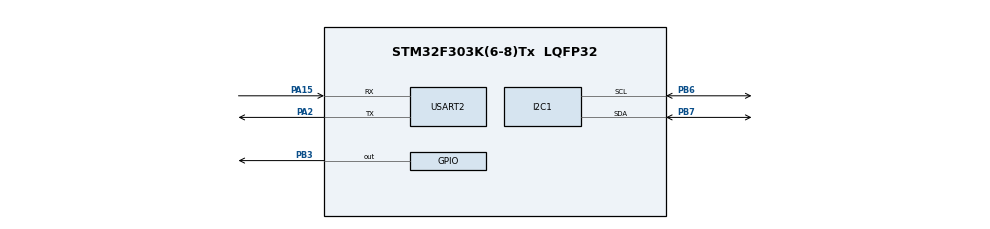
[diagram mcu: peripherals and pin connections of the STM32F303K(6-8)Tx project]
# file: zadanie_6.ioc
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I2C1.Timing=0x00201D2B
Mcu.Family=STM32F3
Mcu.Name=STM32F303K(6-8)Tx
Mcu.Package=LQFP32
NVIC.I2C1_EV_IRQn=true\:0\:0\:false\:false\:true\:true\:true\:true
NVIC.PriorityGroup=NVIC_PRIORITYGROUP_4
PA13.GPIO_Label=SWDIO
PA13.Mode=Serial_Wire
PA13.Signal=SYS_JTMS-SWDIO
PA14.GPIO_Label=SWCLK
PA14.Mode=Serial_Wire
PA14.Signal=SYS_JTCK-SWCLK
PA15.Mode=Asynchronous
PA15.Signal=USART2_RX
PA2.Mode=Asynchronous
PA2.Signal=USART2_TX
PB3.Signal=GPIO_Output
PB6.Mode=I2C
PB6.Signal=I2C1_SCL
PB7.Mode=I2C
PB7.Signal=I2C1_SDA
PF0\ /\ OSC_IN.GPIO_Label=MCO
PF0\ /\ OSC_IN.Mode=HSE-External-Clock-Source
PF0\ /\ OSC_IN.Signal=RCC_OSC_IN
ProjectManager.HeapSize=0x200
ProjectManager.StackSize=0x400
ProjectManager.TargetToolchain=STM32CubeIDE
RCC.AHBFreq_Value=8000000
RCC.APB1Freq_Value=8000000
RCC.APB2Freq_Value=8000000
RCC.CortexFreq_Value=8000000
RCC.HSE_VALUE=8000000
RCC.HSI_VALUE=8000000
RCC.SYSCLKFreq_VALUE=8000000
USART2.VirtualMode-Asynchronous=VM_ASYNC
board=NUCLEO-F303K8

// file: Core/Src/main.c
/* USER CODE BEGIN Header */
/**
  ******************************************************************************
  * @file           : main.c
  * @brief          : Main program body
  ******************************************************************************
  * @attention
  *
  * Copyright (c) 2026 STMicroelectronics.
  * All rights reserved.
  *
  * This software is licensed under terms that can be found in the LICENSE file
  * in the root directory of this software component.
  * If no LICENSE file comes with this software, it is provided AS-IS.
  *
  ******************************************************************************
  */
/* USER CODE END Header */
#include "main.h"
#include "i2c.h"
#include "usart.h"
#include "gpio.h"

/* USER CODE BEGIN Includes */
#include <stdio.h>
#include "bmp180.h"
#include "aht10.h"

/* USER CODE END Includes */

void SystemClock_Config(void);

int main(void)
{

  /* USER CODE BEGIN 1 */
  char msg[64];
  float temp = 0, hum = 0, press = 0, alt = 0;
  float ref_press = 0;
  uint8_t bmp_ok = 0, aht_ok = 0;

  /* USER CODE END 1 */

  /* MCU Configuration--------------------------------------------------------*/

  /* Reset of all peripherals, Initializes the Flash interface and the Systick. */
  LL_APB2_GRP1_EnableClock(LL_APB2_GRP1_PERIPH_SYSCFG);
  LL_APB1_GRP1_EnableClock(LL_APB1_GRP1_PERIPH_PWR);

  /* System interrupt init*/
  NVIC_SetPriorityGrouping(NVIC_PRIORITYGROUP_4);

  /* Configure the system clock */
  SystemClock_Config();

  /* Initialize all configured peripherals */
  MX_GPIO_Init();
  MX_I2C1_Init();
  MX_USART2_UART_Init();
  /* USER CODE BEGIN 2 */
  bmp180_register_callbacks(i2c_read, i2c_write, LL_mDelay);
  aht10_register_callbacks(i2c_write, i2c_receive, LL_mDelay);

  if (bmp180_init() == 0 && bmp180_get_ref_pressure(&ref_press) == 0)
    bmp_ok = 1;
  if (aht10_init() == 0)
    aht_ok = 1;

  if (!bmp_ok) usart2_send_string("BMP180 error\r\n");
  if (!aht_ok) usart2_send_string("AHT10 error\r\n");
  /* USER CODE END 2 */

  /* Infinite loop */
  while (1)
  {

    /* USER CODE BEGIN 3 */
    if (aht_ok)
    {
      aht10_get_temperature(&temp);
      aht10_get_humidity(&hum);
    }
    else if (bmp_ok)
    {
      bmp180_get_temperature(&temp);
    }

    if (bmp_ok)
    {
      bmp180_get_pressure(&press);
      alt = bmp180_get_altitude(press, ref_press);
    }

    sprintf(msg, "%.1f,%.0f,%.2f,%.2f\r\n", temp, hum, press, alt);
    usart2_send_string(msg);

    LL_GPIO_TogglePin(GPIOB, LL_GPIO_PIN_3);
    LL_mDelay(800);
  }
  /* USER CODE END 3 */
}

void SystemClock_Config(void)
{
  LL_FLASH_SetLatency(LL_FLASH_LATENCY_0);
  while(LL_FLASH_GetLatency()!= LL_FLASH_LATENCY_0)
  {
  }
  LL_RCC_HSI_Enable();

   /* Wait till HSI is ready */
  while(LL_RCC_HSI_IsReady() != 1)
  {

  }
  LL_RCC_HSI_SetCalibTrimming(16);
  LL_RCC_SetAHBPrescaler(LL_RCC_SYSCLK_DIV_1);
  LL_RCC_SetAPB1Prescaler(LL_RCC_APB1_DIV_1);
  LL_RCC_SetAPB2Prescaler(LL_RCC_APB2_DIV_1);
  LL_RCC_SetSysClkSource(LL_RCC_SYS_CLKSOURCE_HSI);

   /* Wait till System clock is ready */
  while(LL_RCC_GetSysClkSource() != LL_RCC_SYS_CLKSOURCE_STATUS_HSI)
  {

  }
  LL_Init1msTick(8000000);
  LL_SetSystemCoreClock(8000000);
  LL_RCC_SetI2CClockSource(LL_RCC_I2C1_CLKSOURCE_HSI);
}

void Error_Handler(void)
{
  __disable_irq();
  while (1)
  {
  }
}
